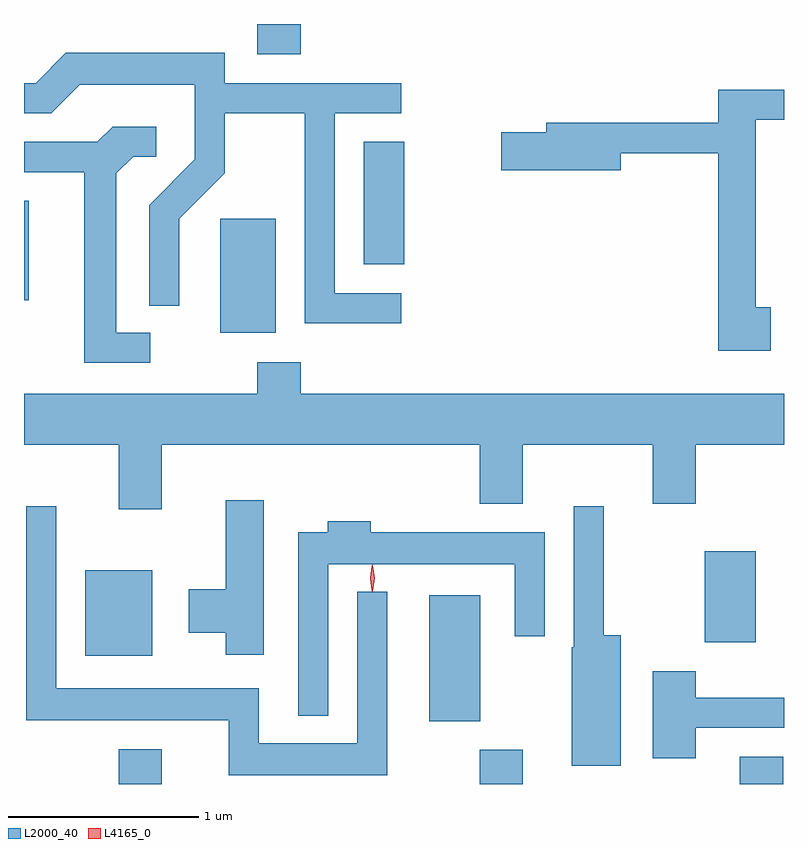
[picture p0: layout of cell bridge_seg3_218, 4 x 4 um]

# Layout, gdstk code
import gdstk
lib = gdstk.Library(unit=1e-6, precision=1e-09)
def R(c, l, rs):  # rectangles x0, y0, x1, y1
    for r in rs: c.add(gdstk.rectangle(r[:2], r[2:], *l))
def P(c, l, *ps):  # polygons
    for p in ps: c.add(gdstk.Polygon(p, *l))
L2000_40 = (2000, 40)
L4165_0 = (4165, 0)

bridge_seg3_218 = lib.new_cell('bridge_seg3_218')
R(bridge_seg3_218, L2000_40, [(928.461,1155.31,928.689,1155.494), (930.361,1155.31,930.589,1155.489), (931.731,1155.31,931.959,1155.454), (930.096,1155.641,930.364,1156.304), (928.286,1155.986,928.639,1156.434), (931.546,1156.056,931.814,1156.534), (928.996,1157.686,929.289,1158.284), (927.963,1157.856,927.989,1158.379), (929.751,1158.046,929.964,1158.689), (929.191,1159.151,929.419,1159.31)])
P(bridge_seg3_218, L2000_40, [(929.948,1157.894),(929.599,1157.894),(929.599,1158.841),(929.948,1158.841),(929.948,1158.999),(929.019,1158.999),(929.019,1159.159),(928.184,1159.159),(928.024,1158.999),(927.963,1158.999),(927.963,1158.841),(928.107,1158.841),(928.257,1158.991),(928.861,1158.991),(928.861,1158.597),(928.621,1158.357),(928.621,1157.828),(928.779,1157.828),(928.779,1158.284),(929.019,1158.524),(929.019,1158.841),(929.441,1158.841),(929.441,1157.736),(929.948,1157.736)],
  [(931.894,1157.819),(931.814,1157.819),(931.814,1158.806),(931.963,1158.806),(931.963,1158.964),(931.616,1158.964),(931.616,1158.789),(930.711,1158.789),(930.711,1158.739),(930.476,1158.739),(930.476,1158.541),(931.104,1158.541),(931.104,1158.631),(931.616,1158.631),(931.616,1157.591),(931.894,1157.591)],
  [(928.628,1157.684),(928.449,1157.684),(928.449,1158.524),(928.537,1158.611),(928.658,1158.611),(928.658,1158.769),(928.429,1158.769),(928.349,1158.689),(927.963,1158.689),(927.963,1158.531),(928.281,1158.531),(928.281,1157.526),(928.628,1157.526)],
  [(928.689,1157.096),(930.361,1157.096),(930.361,1156.786),(930.589,1156.786),(930.589,1157.096),(931.271,1157.096),(931.271,1156.786),(931.499,1156.786),(931.499,1157.096),(931.963,1157.096),(931.963,1157.364),(929.419,1157.364),(929.419,1157.529),(929.191,1157.529),(929.191,1157.364),(927.963,1157.364),(927.963,1157.096),(928.461,1157.096),(928.461,1156.756),(928.689,1156.756)],
  [(929.224,1156.804),(929.026,1156.804),(929.026,1156.334),(928.831,1156.334),(928.831,1156.106),(929.026,1156.106),(929.026,1155.991),(929.224,1155.991)],
  [(929.874,1156.323),(929.716,1156.323),(929.716,1155.524),(929.199,1155.524),(929.199,1155.814),(928.134,1155.814),(928.134,1156.773),(927.976,1156.773),(927.976,1155.646),(929.041,1155.646),(929.041,1155.356),(929.874,1155.356)],
  [(931.104,1156.094),(931.014,1156.094),(931.014,1156.773),(930.856,1156.773),(930.856,1156.03),(930.846,1156.03),(930.846,1155.406),(931.104,1155.406)],
  [(929.564,1156.466),(930.546,1156.466),(930.546,1156.088),(930.704,1156.088),(930.704,1156.634),(929.789,1156.634),(929.789,1156.694),(929.561,1156.694),(929.561,1156.634),(929.406,1156.634),(929.406,1155.668),(929.564,1155.668)],
  [(931.499,1155.606),(931.963,1155.606),(931.963,1155.764),(931.499,1155.764),(931.499,1155.904),(931.271,1155.904),(931.271,1155.446),(931.499,1155.446)])
P(bridge_seg3_218, L4165_0, [(929.798,1156.323),(929.797,1156.324),(929.788,1156.393),(929.797,1156.462),(929.798,1156.463),(929.798,1156.462),(929.808,1156.393),(929.798,1156.324)],
  [(929.795,1156.327),(929.794,1156.328),(929.785,1156.394),(929.794,1156.46),(929.795,1156.461),(929.796,1156.46),(929.805,1156.394),(929.796,1156.328)])

lib.write_gds('bridge_seg3_218.gds')
